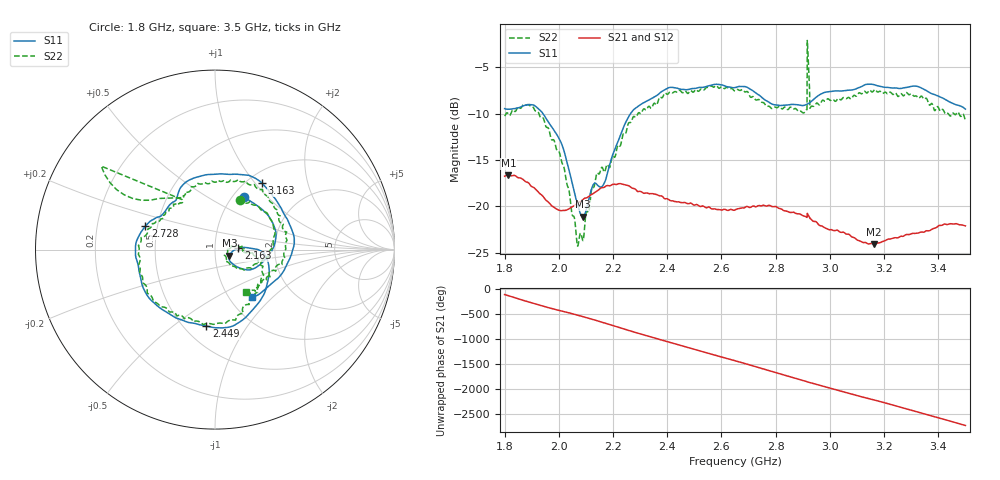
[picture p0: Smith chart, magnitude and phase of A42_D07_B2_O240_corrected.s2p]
! Created with skrf 1.9.0 (http://scikit-rf.org).
# Hz S RI R 50.0
!freq ReS11 ImS11 ReS21 ImS21 ReS12 ImS12 ReS22 ImS22
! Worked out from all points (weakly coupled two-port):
!   1601 points, 1.8 GHz to 3.5 GHz, reference 50 ohm
!   highest |S21| = -16.64 dB at 1.814 GHz (marker M1); lowest = -24.1 dB at 3.162 GHz (marker M2)
!   lowest |S11| = -21.1 dB at 2.088 GHz (marker M3), VSWR 1.19, Z = 58.6 - j4.07 ohm
!   |S11| at or under -10 dB: 1.942 GHz to 2.264 GHz (322.6 MHz wide, 15.3 % of centre)
!   |S22| runs from -24.3 to -2.1 dB; largest |S21 - S12| = 0.0027
!   S11 on the Smith chart (normalised r, x): 1.8 GHz: 1.12, +0.75; 2.163 GHz: 1.30, +0.02; 2.449 GHz: 0.64, -0.67; 2.728 GHz: 0.43, +0.13; 3.163 GHz: 1.16, +1.09; 3.5 GHz: 1.27, -0.75
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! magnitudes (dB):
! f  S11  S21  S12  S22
! 1.8 GHz  -9.5  -16.8  -16.8  -10.3
! 1.814 GHz  -9.5  -16.6  -16.6  -10.0
! 1.883 GHz  -9.0  -17.4  -17.4  -9.0
! 1.942 GHz  -10.0  -19.0  -19.0  -10.5
! 2.011 GHz  -13.3  -20.5  -20.5  -15.3
! 2.067 GHz  -19.6  -19.7  -19.7  -23.9
! 2.084 GHz  -21.0  -19.4  -19.4  -23.1
! 2.088 GHz  -21.1  -19.3  -19.3  -23.7
! 2.128 GHz  -17.6  -18.6  -18.6  -18.0
! 2.163 GHz  -17.7  -18.0  -17.9  -16.0
! 2.261 GHz  -10.2  -17.8  -17.8  -11.0
! 2.367 GHz  -7.9  -18.8  -18.8  -8.5
! 2.449 GHz  -7.4  -19.6  -19.6  -7.5
! 2.65 GHz  -7.2  -20.4  -20.4  -7.5
! 2.728 GHz  -7.8  -20.1  -20.1  -8.5
! 2.903 GHz  -9.1  -21.0  -21.0  -9.9
! 2.925 GHz  -8.8  -21.2  -21.2  -7.5
! 2.934 GHz  -8.6  -21.5  -21.5  -9.2
! 3.162 GHz  -6.8  -24.1  -24.0  -7.5
! 3.163 GHz  -6.9  -24.1  -24.0  -7.4
! 3.217 GHz  -7.2  -23.5  -23.5  -7.8
! 3.5 GHz  -9.5  -22.1  -22.1  -10.8
